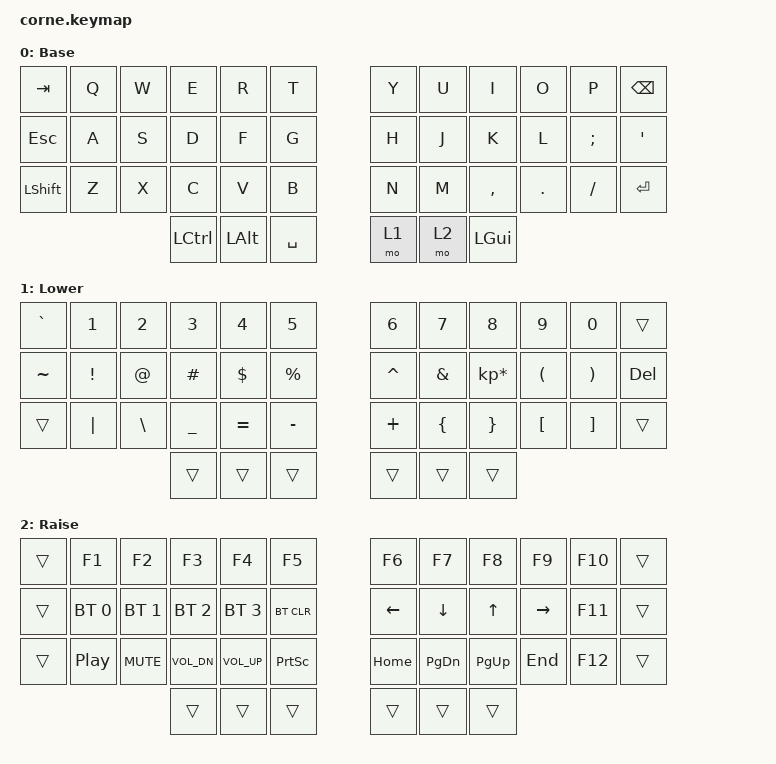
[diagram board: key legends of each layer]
/*
 * Copyright (c) 2020 The ZMK Contributors
 *
 * SPDX-License-Identifier: MIT
 */

#include <behaviors.dtsi>
#include <dt-bindings/zmk/keys.h>
#include <dt-bindings/zmk/bt.h>

/ {
        keymap {
                compatible = "zmk,keymap";

                default_layer {
// -----------------------------------------------------------------------------------------
// |  TAB |  Q  |  W  |  E  |  R  |  T  |   |  Y  |  U   |  I  |  O  |  P  | BKSP |
// | CTRL |  A  |  S  |  D  |  F  |  G  |   |  H  |  J   |  K  |  L  |  ;  |  '   |
// | SHFT |  Z  |  X  |  C  |  V  |  B  |   |  N  |  M   |  ,  |  .  |  /  | ESC  |
//                    | GUI | LWR | SPC |   | ENT | RSE  | ALT |
                        label = "Base";
                        bindings = <
   &kp TAB   &kp Q &kp W &kp E &kp R &kp T   &kp Y &kp U  &kp I     &kp O   &kp P    &kp BSPC
   &kp ESC   &kp A &kp S &kp D &kp F &kp G   &kp H &kp J  &kp K     &kp L   &kp SEMI &kp SQT
   &kp LSHFT &kp Z &kp X &kp C &kp V &kp B   &kp N &kp M  &kp COMMA &kp DOT &kp FSLH &kp RET
              &kp LCTRL &kp LALT &kp SPACE   &mo 1 &mo 2 &kp LGUI
                        >;
                };
                lower_layer {
// -----------------------------------------------------------------------------------------
// |  TAB |  1  |  2  |  3  |  4  |  5  |   |  6  |  7  |  8  |  9  |  0  | BKSP |
// | BTCLR| BT1 | BT2 | BT3 | BT4 | BT5 |   | LFT | DWN |  UP | RGT |     |      |
// | SHFT |     |     |     |     |     |   |     |     |     |     |     |      |
//                    | GUI |     | SPC |   | ENT |     | ALT |
                        label = "Lower";
                        bindings = <
   &kp GRAVE  &kp N1       &kp N2       &kp N3       &kp N4       &kp N5         &kp N6    &kp N7   &kp N8          &kp N9   &kp N0   &trans
   &kp TILDE  &kp EXCL     &kp AT       &kp HASH     &kp DLLR     &kp PRCNT      &kp CARET &kp AMPS &kp KP_MULTIPLY &kp LPAR &kp RPAR &kp DEL
   &trans     &kp PIPE     &kp BSLH     &kp UNDER    &kp EQUAL    &kp MINUS      &kp PLUS  &kp LBRC &kp RBRC        &kp LBKT &kp RBKT &trans
              &trans &trans &trans   &trans &trans &trans
                        >;
                };

                raise_layer {
// -----------------------------------------------------------------------------------------
// |  TAB |  !  |  @  |  #  |  $  |  %  |   |  ^  |  &  |  *  |  (  |  )  | BKSP |
// | CTRL |     |     |     |     |     |   |  -  |  =  |  [  |  ]  |  \  |  `   |
// | SHFT |     |     |     |     |     |   |  _  |  +  |  {  |  }  | "|" |  ~   |
//                    | GUI |     | SPC |   | ENT |     | ALT |
                        label = "Raise";
                        bindings = <
   &trans &kp F1 &kp F2 &kp F3 &kp F4 &kp F5 &kp F6 &kp F7 &kp F8 &kp F9 &kp F10 &trans
   &trans &bt BT_SEL 0 &bt BT_SEL 1 &bt BT_SEL 2 &bt BT_SEL 3 &bt BT_CLR &kp LEFT &kp DOWN &kp UP &kp RIGHT &kp F11 &trans
   &trans &kp C_PP &kp C_MUTE &kp C_VOL_DN &kp C_VOL_UP &kp PSCRN &kp HOME &kp PG_DN &kp PG_UP &kp END &kp F12 &trans
              &trans &trans &trans   &trans &trans &trans
                        >;
                };
        };
};
